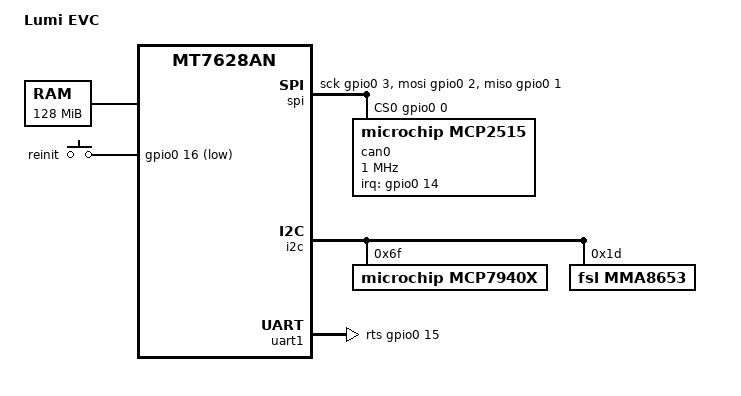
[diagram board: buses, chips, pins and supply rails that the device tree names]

/dts-v1/;

#include "OMEGA2.dtsi"

/ {
	compatible = "onion,omega2p", "onion,omega2", "mediatek,mt7628an-soc";
	model = "Lumi EVC";

	memory@0 {
		device_type = "memory";
		reg = <0x0 0x8000000>;
	};

	spi {
		#address-cells = <1>;
		#size-cells = <0>;

		compatible = "spi-gpio";

		gpio-sck = <&gpio0 3 GPIO_ACTIVE_HIGH>;
		gpio-miso = <&gpio0 1 GPIO_ACTIVE_HIGH>;
		gpio-mosi = <&gpio0 2 GPIO_ACTIVE_HIGH>;
		cs-gpios = <&gpio0 0 GPIO_ACTIVE_HIGH>;
		num-chipselects = <1>;

		status = "okay";

		can0: can@0 {
			compatible = "microchip,mcp2515";
			reg = <0>;
			interrupt-parent = <&gpio0>;
			interrupts = <14 8>;

			spi-max-frequency = <1000000>;

			status = "okay";
		};
	};

	keys {
		compatible = "gpio-keys-polled";

		reinit {
			label = "reinit";
			gpios = <&gpio0 16 GPIO_ACTIVE_LOW>;
			linux,code = <BTN_0>;
		};
	};

};

&firmware {
	reg = <0x50000 0x1fb0000>;
};

&system_led {
	label = "omega2p:amber:system";
};

&i2c {
	mcp7940x: mcp7940x@6f {
		compatible = "microchip,mcp7940x";
		reg = <0x6f>;
		status = "okay";
	};

	mma8653: mma8653@1d {
		compatible = "fsl,mma8653";
		reg = <0x1d>;
		status="okay";
	};
};

&sdhci {
	status = "disabled";
};

&uart1 {
	rts-gpios = <&gpio0 15 GPIO_ACTIVE_HIGH>;
};
